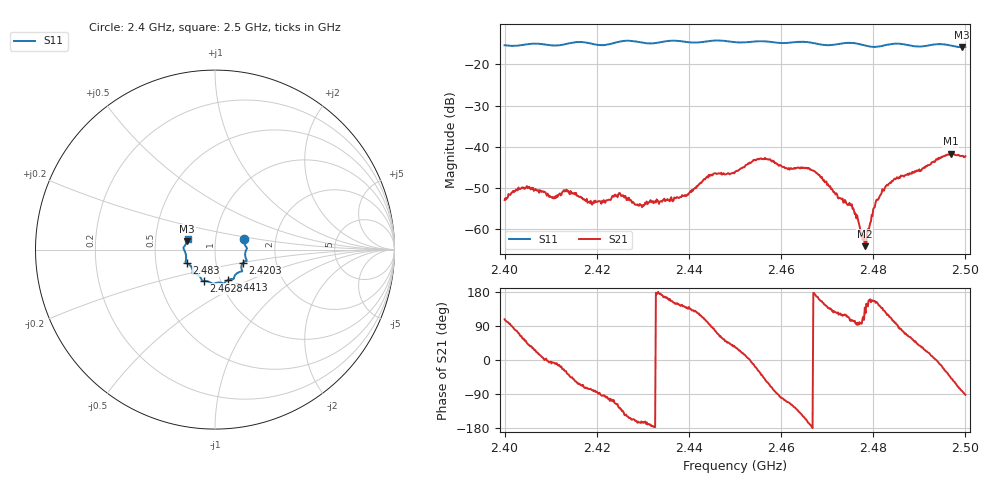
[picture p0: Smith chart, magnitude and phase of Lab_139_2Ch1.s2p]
# Hz S RI R 50
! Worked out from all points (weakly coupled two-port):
!   601 points, 2.4 GHz to 2.5 GHz, reference 50 ohm
!   highest |S21| = -41.69 dB at 2.4968 GHz (marker M1); lowest = -64.2 dB at 2.4782 GHz (marker M2)
!   lowest |S11| = -15.8 dB at 2.4992 GHz (marker M3), VSWR 1.39, Z = 36.4 + j3.53 ohm
!   |S11| at or under -10 dB: start of sweep to end of sweep
!   S12 and S22 are empty: the file has one direction only
!   S11 on the Smith chart (normalised r, x): 2.4 GHz: 1.37, +0.16; 2.4203 GHz: 1.35, -0.21; 2.4413 GHz: 1.09, -0.38; 2.4628 GHz: 0.83, -0.30; 2.483 GHz: 0.72, -0.11; 2.5 GHz: 0.73, +0.09
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2.4e9  0.161 0.0569  -0.000678 0.00215  0 0  0 0
2.405e9  0.1752 0.0127  0.0023 0.00213  0 0  0 0
2.410333e9  0.1694 -0.0134  0.00238 -0.000256  0 0  0 0
2.416667e9  0.1762 -0.0615  0.000951 -0.0022  0 0  0 0
2.420333e9  0.1553 -0.0742  2.45e-05 -0.00219  0 0  0 0
2.425167e9  0.1504 -0.1159  -0.00168 -0.00199  0 0  0 0
2.428667e9  0.1437 -0.1225  -0.00187 -0.000628  0 0  0 0
2.433333e9  0.1081 -0.1483  -0.00218 9.21e-06  0 0  0 0
2.441333e9  0.0745 -0.1681  -0.00203 0.00243  0 0  0 0
2.445167e9  0.0517 -0.1869  0.000482 0.00452  0 0  0 0
2.45e9  0.0292 -0.1838  0.00407 0.00277  0 0  0 0
2.455333e9  -0.00886 -0.1908  0.006 -0.00379  0 0  0 0
2.462833e9  -0.0631 -0.1748  -0.0031 -0.00453  0 0  0 0
2.466667e9  -0.0744 -0.1673  -0.00519 -0.000313  0 0  0 0
2.475333e9  -0.1251 -0.1326  -0.000463 0.00195  0 0  0 0
2.478167e9  -0.1246 -0.1149  -0.000464 0.000411  0 0  0 0
2.4805e9  -0.1348 -0.0917  -0.00182 0.00101  0 0  0 0
2.483e9  -0.155 -0.0768  -0.00166 0.00302  0 0  0 0
2.483333e9  -0.157 -0.0757  -0.00166 0.00311  0 0  0 0
2.496833e9  -0.1678 0.0219  0.0056 -0.00604  0 0  0 0
2.499167e9  -0.1551 0.0472  0.00124 -0.00761  0 0  0 0
2.5e9  -0.1527 0.0583  -0.000249 -0.00767  0 0  0 0
